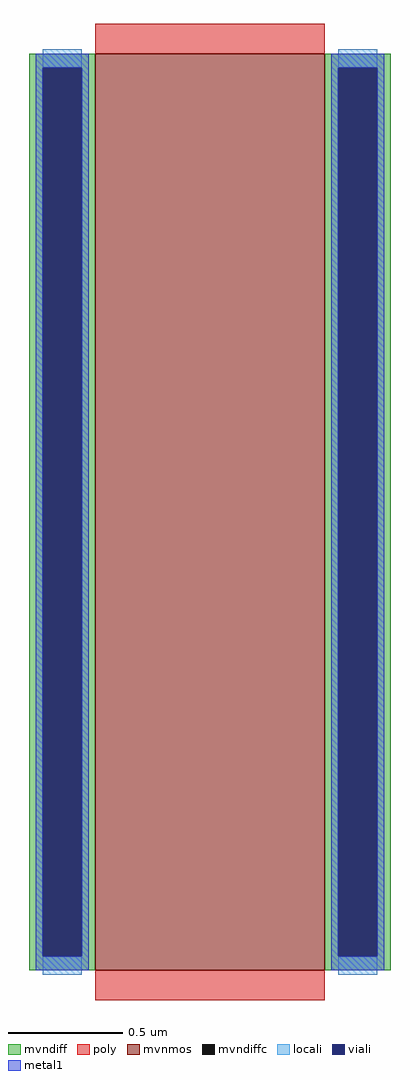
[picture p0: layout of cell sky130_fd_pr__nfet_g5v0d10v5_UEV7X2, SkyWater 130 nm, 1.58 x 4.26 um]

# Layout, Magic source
magic
tech sky130A
<< mvnmos >>
rect -50 -200 50 200
<< mvndiff >>
rect -79 194 -50 200
rect -79 -194 -73 194
rect -56 -194 -50 194
rect -79 -200 -50 -194
rect 50 194 79 200
rect 50 -194 56 194
rect 73 -194 79 194
rect 50 -200 79 -194
<< mvndiffc >>
rect -73 -194 -56 194
rect 56 -194 73 194
<< poly >>
rect -50 200 50 213
rect -50 -213 50 -200
<< locali >>
rect -73 194 -56 202
rect -73 -202 -56 -194
rect 56 194 73 202
rect 56 -202 73 -194
<< viali >>
rect -73 -194 -56 194
rect 56 -194 73 194
<< metal1 >>
rect -76 194 -53 200
rect -76 -194 -73 194
rect -56 -194 -53 194
rect -76 -200 -53 -194
rect 53 194 76 200
rect 53 -194 56 194
rect 73 -194 76 194
rect 53 -200 76 -194
<< properties >>
string gencell sky130_fd_pr__nfet_g5v0d10v5
string library sky130
string parameters w 4 l 1 m 1 nf 1 diffcov 100 polycov 100 guard 0 glc 1 grc 1 gtc 1 gbc 1 tbcov 100 rlcov 100 topc 0 botc 0 poverlap 0 doverlap 1 lmin 0.50 wmin 0.42 compatible {sky130_fd_pr__nfet_01v8 sky130_fd_pr__nfet_01v8_lvt  sky130_fd_bs_flash__special_sonosfet_star  sky130_fd_pr__nfet_g5v0d10v5 sky130_fd_pr__nfet_05v0_nvt  sky130_fd_pr__nfet_03v3_nvt} full_metal 1 viasrc 100 viadrn 100 viagate 100 viagb 0 viagr 0 viagl 0 viagt 0
<< end >>
